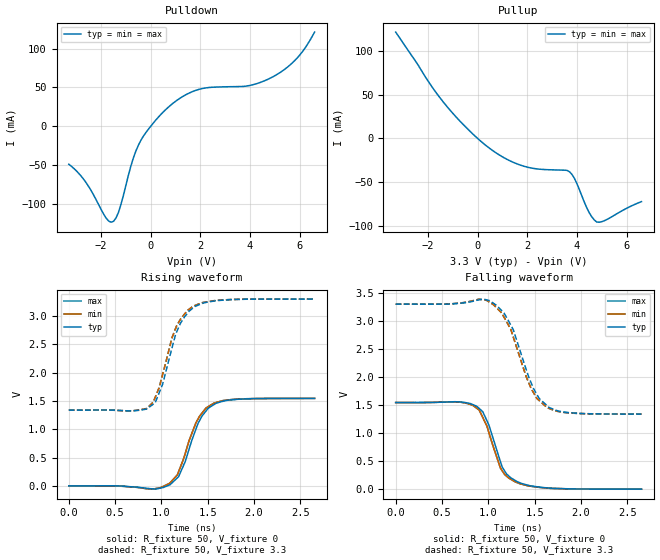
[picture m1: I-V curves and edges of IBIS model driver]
| IBIS file ex2_nomiller_tr50ps.ibs created by PYS2IBIS3
| Missouri S&T EMC Lab
[IBIS Ver] 7.1
[File Name] ex2_nomiller_tr50ps.ibs
[File Rev] 1.0
[Date] July 28, 2026
[Source] ex2 variant nomiller -- n4->out Miller caps removed
[Notes] Parameter selection; sim_time=2.653e-09, tr=tf=5.000e-11.
[Disclaimer] Experimental characterization for pybis observability study.
[Component] MCM Driver 1
[Manufacturer] MegaFLOPS Inc.
[Package]
| variable   typ   min   max
R_pkg 0 NA NA
L_pkg 0H NA NA
C_pkg 0F NA NA
[Pin]  signal_name   model_name   R_pin   L_pin   C_pin
vdd   vdd   POWER
gnd   gnd   GND
| in in dummy
out   out   driver
| End of Component
| Models and submodels in the file (1): driver (Output)
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[Model] driver
Model_type Output
Polarity Non-Inverting
Enable Active-Low
Vinl  = 0.8V
Vinh  = 2V
C_comp 5.0000pF 5.0000pF 5.0000pF
[Temperature Range] 27.0000 27.0000 27.0000
[Voltage Range] 3.3000V 3.3000V 3.3000V
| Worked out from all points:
|   slope of the pulldown table from 0 to 0.495 V, typ, clamps not added: 27.4 ohm
|   slope of the pullup table from 0 to 0.495 V, typ, clamps not added: 42.7 ohm
|   rising waveform, R_fixture 50, V_fixture 0: 20-80 % time 213ps typ, 215ps min, 215ps max; typ from 0 V to 1.54 V
|   rising waveform, R_fixture 50, V_fixture 3.3: 20-80 % time 222ps typ, 218ps min, 218ps max; typ from 1.34 V to 3.3 V
|   falling waveform, R_fixture 50, V_fixture 0: 20-80 % time 201ps typ, 203ps min, 203ps max; typ from 1.54 V to 0 V
|   falling waveform, R_fixture 50, V_fixture 3.3: 20-80 % time 260ps typ, 261ps min, 261ps max; typ from 3.3 V to 1.34 V
[Pulldown]
| Voltage   I(typ)   I(min)   I(max)
-3.3V     -48.93mA   -48.93mA   -48.93mA
-2.6V     -72.86mA   -72.86mA   -72.86mA
-1.8V     -118.2mA   -118.2mA   -118.2mA
-1.5V     -122.5mA   -122.5mA   -122.5mA
-1.3V     -110.9mA   -110.9mA   -110.9mA
-500mV    -24.59mA   -24.59mA   -24.59mA
600mV     21.34mA    21.34mA    21.34mA
1.9V      47.12mA    47.12mA    47.12mA
3.9V      51.99mA    51.99mA    51.99mA
4.9V      63.38mA    63.38mA    63.38mA
5.9V      87.99mA    87.99mA    87.99mA
6.6V      121.3mA    121.3mA    121.3mA
[Pullup]
| Voltage   I(typ)   I(min)   I(max)
-3.3V     122mA      122mA      122mA
-1.9V     61.75mA    61.75mA    61.75mA
-1.3V     38.86mA    38.86mA    38.86mA
-200mV    5.278mA    5.278mA    5.278mA
700mV     -15.75mA   -15.75mA   -15.75mA
2V        -32.92mA   -32.92mA   -32.92mA
3.7V      -38.24mA   -38.24mA   -38.24mA
3.9V      -45.89mA   -45.89mA   -45.89mA
4.5V      -85.43mA   -85.43mA   -85.43mA
4.8V      -95.97mA   -95.97mA   -95.97mA
5.1V      -94.48mA   -94.48mA   -94.48mA
6.6V      -72.53mA   -72.53mA   -72.53mA
[Ramp]
| variable   typ   min   max
dV/dt_r 0.9270/0.2131n 0.9270/0.2154n 0.9270/0.2154n
dV/dt_f 1.1766/0.2604n  1.1766/0.26n  1.1766/0.26n
R_load = 50
[Rising Waveform]
R_fixture = 50
V_fixture = 0
|time   V(typ)   V(min)   V(max)
0s        7.302nV    7.302nV    7.302nV
1.017ns   -30.76mV   -12.04mV   -12.04mV
1.089ns   16.99mV    45.44mV    45.44mV
1.182ns   152.8mV    237.1mV    237.1mV
1.251ns   398.9mV    540.1mV    540.1mV
1.365ns   970.5mV    1.089V     1.089V
1.439ns   1.237V     1.289V     1.289V
1.564ns   1.434V     1.46V      1.46V
1.819ns   1.53V      1.532V     1.532V
2.653ns   1.545V     1.545V     1.545V
[Rising Waveform]
R_fixture = 50
V_fixture = 3.3
|time   V(typ)   V(min)   V(max)
0s        1.338V     1.338V     1.338V
759.4ps   1.333V     1.34V      1.34V
844.4ps   1.365V     1.37V      1.37V
929.3ps   1.462V     1.551V     1.551V
1.012ns   1.792V     1.959V     1.959V
1.113ns   2.429V     2.61V      2.61V
1.16ns    2.708V     2.814V     2.814V
1.338ns   3.138V     3.171V     3.171V
1.673ns   3.284V     3.285V     3.285V
2.653ns   3.3V       3.3V       3.3V
[Falling Waveform]
R_fixture = 50
V_fixture = 0
|time   V(typ)   V(min)   V(max)
0s        1.545V     1.545V     1.545V
679.8ps   1.556V     1.555V     1.555V
868.3ps   1.487V     1.451V     1.451V
940ps     1.38V      1.28V      1.28V
1.006ns   1.144V     1.008V     1.008V
1.129ns   499.4mV    381.2mV    381.2mV
1.195ns   272.6mV    234.6mV    234.6mV
1.336ns   116.6mV    99.72mV    99.72mV
1.678ns   15.41mV    13.87mV    13.87mV
2.653ns   91.22uV    77.7uV     77.7uV
[Falling Waveform]
R_fixture = 50
V_fixture = 3.3
|time   V(typ)   V(min)   V(max)
0s        3.3V       3.3V       3.3V
900.1ps   3.376V     3.389V     3.389V
1.009ns   3.365V     3.339V     3.339V
1.144ns   3.184V     3.141V     3.141V
1.261ns   2.871V     2.754V     2.754V
1.46ns    1.902V     1.8V       1.8V
1.545ns   1.626V     1.585V     1.585V
1.63ns    1.496V     1.458V     1.458V
1.915ns   1.357V     1.355V     1.355V
2.653ns   1.339V     1.339V     1.339V
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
